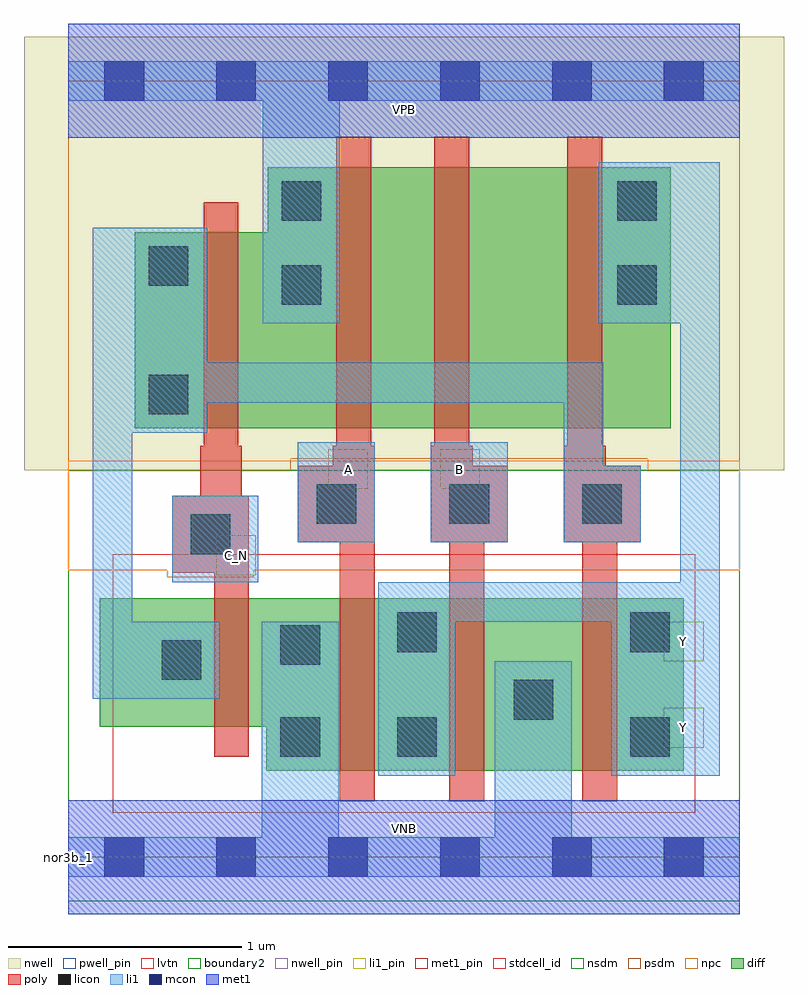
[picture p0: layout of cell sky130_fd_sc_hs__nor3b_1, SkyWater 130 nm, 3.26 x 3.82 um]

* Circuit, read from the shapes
.subckt sky130_fd_sc_hs__nor3b_1 A B C_N VGND VNB VPB VPWR Y
XM1 VGND C_N n1 VNB sky130_fd_pr__nfet_01v8_lvt w=0.55 l=0.15
XM2 Y A VGND VNB sky130_fd_pr__nfet_01v8_lvt w=0.74 l=0.15
XM3 VGND B Y VNB sky130_fd_pr__nfet_01v8_lvt w=0.74 l=0.15
XM4 Y n1 VGND VNB sky130_fd_pr__nfet_01v8_lvt w=0.74 l=0.15
XM5 VPWR C_N n1 VPB sky130_fd_pr__pfet_01v8 w=0.84 l=0.15
XM6 n2 A VPWR VPB sky130_fd_pr__pfet_01v8 w=1.12 l=0.15
XM7 n3 B n2 VPB sky130_fd_pr__pfet_01v8 w=1.12 l=0.15
XM8 Y n1 n3 VPB sky130_fd_pr__pfet_01v8 w=1.12 l=0.15
.ends

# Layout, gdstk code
import gdstk
lib = gdstk.Library(unit=1e-6, precision=1e-09)
def R(c, l, rs):  # rectangles x0, y0, x1, y1
    for r in rs: c.add(gdstk.rectangle(r[:2], r[2:], *l))
def A(c, l, x, y, w, h, nx, ny, dx, dy):  # array of equal rectangles
    R(c, l, [(x+i*dx, y+j*dy, x+i*dx+w, y+j*dy+h) for i in range(nx) for j in range(ny)])
def P(c, l, *ps):  # polygons
    for p in ps: c.add(gdstk.Polygon(p, *l))
nwell_pin = (64, 16)
nwell = (64, 20)
diff = (65, 20)
poly = (66, 20)
licon = (66, 44)
li1_pin = (67, 16)
li1 = (67, 20)
mcon = (67, 44)
met1_pin = (68, 16)
met1 = (68, 20)
stdcell_id = (81, 4)
nsdm = (93, 44)
psdm = (94, 20)
npc = (95, 20)
pwell_pin = (122, 16)
lvtn = (125, 44)
boundary2 = (236, 0)

sky130_fd_sc_hs__nor3b_1 = lib.new_cell('sky130_fd_sc_hs__nor3b_1')
R(sky130_fd_sc_hs__nor3b_1, nwell_pin, [(0,3.085,2.88,3.33)])
R(sky130_fd_sc_hs__nor3b_1, nwell, [(-0.19,1.66,3.07,3.52)])
P(sky130_fd_sc_hs__nor3b_1, diff, [(2.585,2.96),(0.855,2.96),(0.855,2.68),(0.285,2.68),(0.285,1.84),(2.585,1.84)],
  [(2.64,1.11),(0.135,1.11),(0.135,0.56),(0.85,0.56),(0.85,0.37),(2.64,0.37)])
P(sky130_fd_sc_hs__nor3b_1, poly, [(2.455,1.68),(2.305,1.68),(2.305,1.765),(2.29,1.765),(2.29,3.09),(2.14,3.09),(2.14,1.765),(2.125,1.765),(2.125,1.35),(2.205,1.35),(2.205,0.24),(2.355,0.24),(2.355,1.35),(2.455,1.35)],
  [(1.885,1.68),(1.735,1.68),(1.735,1.765),(1.72,1.765),(1.72,3.09),(1.57,3.09),(1.57,1.765),(1.555,1.765),(1.555,1.35),(1.635,1.35),(1.635,0.24),(1.785,0.24),(1.785,1.35),(1.885,1.35)],
  [(1.315,1.765),(1.3,1.765),(1.3,3.09),(1.15,3.09),(1.15,1.765),(1.135,1.765),(1.135,1.68),(0.985,1.68),(0.985,1.35),(1.165,1.35),(1.165,0.24),(1.315,0.24)],
  [(0.775,1.55),(0.745,1.55),(0.745,1.765),(0.73,1.765),(0.73,2.81),(0.58,2.81),(0.58,1.765),(0.565,1.765),(0.565,1.55),(0.445,1.55),(0.445,1.22),(0.625,1.22),(0.625,0.43),(0.775,0.43)])
A(sky130_fd_sc_hs__nor3b_1, licon, 1.065, 1.43, 0.17, 0.17, 3, 1, 0.57, 0)
R(sky130_fd_sc_hs__nor3b_1, licon, [(0.91,0.43,1.08,0.6), (1.41,0.43,1.58,0.6), (2.41,0.43,2.58,0.6), (1.91,0.59,2.08,0.76), (0.4,0.76,0.57,0.93), (0.91,0.825,1.08,0.995), (1.41,0.88,1.58,1.05), (2.41,0.88,2.58,1.05), (0.525,1.3,0.695,1.47), (0.345,1.9,0.515,2.07), (0.915,2.37,1.085,2.54), (2.355,2.37,2.525,2.54), (0.345,2.45,0.515,2.62), (0.915,2.73,1.085,2.9), (2.355,2.73,2.525,2.9)])
R(sky130_fd_sc_hs__nor3b_1, li1_pin, [(2.555,0.47,2.725,0.64), (2.555,0.84,2.725,1.01), (0.635,1.21,0.805,1.38), (1.115,1.58,1.285,1.75), (1.595,1.58,1.765,1.75)])
R(sky130_fd_sc_hs__nor3b_1, li1, [(0.445,1.18,0.815,1.55), (0.985,1.35,1.315,1.78), (1.555,1.35,1.885,1.78)])
P(sky130_fd_sc_hs__nor3b_1, li1, [(0,-0.085),(0,0.085),(0.83,0.085),(0.83,1.01),(1.16,1.01),(1.16,0.085),(1.83,0.085),(1.83,0.84),(2.16,0.84),(2.16,0.085),(2.88,0.085),(2.88,-0.085)],
  [(0,3.245),(0,3.415),(2.88,3.415),(2.88,3.245),(1.165,3.245),(1.165,2.29),(0.835,2.29),(0.835,3.245)],
  [(2.33,0.35),(2.33,1.01),(1.66,1.01),(1.66,0.35),(1.33,0.35),(1.33,1.18),(2.625,1.18),(2.625,2.29),(2.275,2.29),(2.275,2.98),(2.795,2.98),(2.795,0.35)],
  [(0.105,2.7),(0.595,2.7),(0.595,2.12),(2.295,2.12),(2.295,1.68),(2.455,1.68),(2.455,1.35),(2.125,1.35),(2.125,1.95),(0.595,1.95),(0.595,1.82),(0.275,1.82),(0.275,1.01),(0.65,1.01),(0.65,0.68),(0.105,0.68)])
A(sky130_fd_sc_hs__nor3b_1, mcon, 0.155, -0.085, 0.17, 0.17, 6, 2, 0.48, 3.33)
R(sky130_fd_sc_hs__nor3b_1, met1_pin, [(0,0,2.88,0.245), (0,3.085,2.88,3.33)])
R(sky130_fd_sc_hs__nor3b_1, met1, [(0,-0.245,2.88,0.245), (0,3.085,2.88,3.575)])
R(sky130_fd_sc_hs__nor3b_1, stdcell_id, [(0,0,2.88,3.33)])
R(sky130_fd_sc_hs__nor3b_1, nsdm, [(0,-0.19,2.88,1.66)])
P(sky130_fd_sc_hs__nor3b_1, psdm, [(2.88,3.52),(0,3.52),(0,1.66),(0.955,1.66),(0.955,1.71),(2.485,1.71),(2.485,1.66),(2.88,1.66)])
P(sky130_fd_sc_hs__nor3b_1, npc, [(2.88,1.7),(0,1.7),(0,1.23),(0.425,1.23),(0.425,1.2),(0.795,1.2),(0.795,1.23),(2.88,1.23)])
R(sky130_fd_sc_hs__nor3b_1, pwell_pin, [(0,0,2.88,0.245)])
R(sky130_fd_sc_hs__nor3b_1, lvtn, [(0.19,0.19,2.69,1.3)])
R(sky130_fd_sc_hs__nor3b_1, boundary2, [(0,0,2.88,3.33)])
sky130_fd_sc_hs__nor3b_1.add(gdstk.Label('nor3b_1', (0,0), layer=83, texttype=44))
sky130_fd_sc_hs__nor3b_1.add(gdstk.Label('VNB', (1.44,0.123), layer=64, texttype=59))
sky130_fd_sc_hs__nor3b_1.add(gdstk.Label('VPB', (1.44,3.208), layer=64, texttype=5))
sky130_fd_sc_hs__nor3b_1.add(gdstk.Label('VPWR', (1.44,3.208), layer=68, texttype=5))
sky130_fd_sc_hs__nor3b_1.add(gdstk.Label('VGND', (1.44,0.123), layer=68, texttype=5))
sky130_fd_sc_hs__nor3b_1.add(gdstk.Label('Y', (2.64,0.555), layer=67, texttype=5))
sky130_fd_sc_hs__nor3b_1.add(gdstk.Label('Y', (2.64,0.925), layer=67, texttype=5))
sky130_fd_sc_hs__nor3b_1.add(gdstk.Label('C_N', (0.72,1.295), layer=67, texttype=5))
sky130_fd_sc_hs__nor3b_1.add(gdstk.Label('A', (1.2,1.665), layer=67, texttype=5))
sky130_fd_sc_hs__nor3b_1.add(gdstk.Label('B', (1.68,1.665), layer=67, texttype=5))

lib.write_gds('sky130_fd_sc_hs__nor3b_1.gds')
